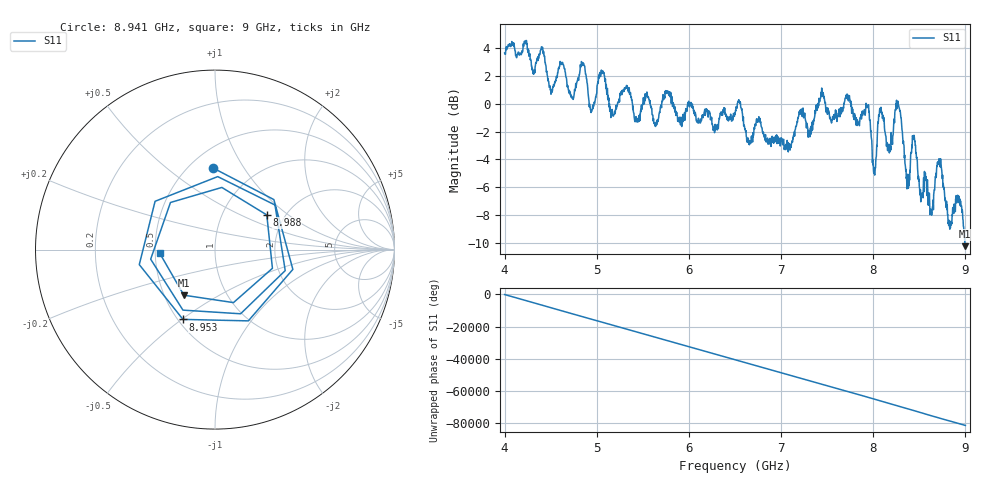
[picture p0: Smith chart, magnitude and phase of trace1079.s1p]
! Created with skrf 1.8.0 (http://scikit-rf.org).
# Hz S RI R 50.0
!freq ReS11 ImS11
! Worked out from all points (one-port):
!   1601 points, 4 GHz to 9 GHz, reference 50 ohm
!   lowest |S11| = -10.2 dB at 8.997 GHz (marker M1), VSWR 1.89, Z = 31.4 - j17.6 ohm
!   |S11| at or under -10 dB: 8.993544 GHz to end of sweep
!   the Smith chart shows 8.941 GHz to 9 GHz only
!   S11 on the Smith chart (normalised r, x): 8.941 GHz: 0.65, +0.74; 8.953 GHz: 0.53, -0.51; 8.988 GHz: 1.62, +0.71; 9 GHz: 0.53, -0.02
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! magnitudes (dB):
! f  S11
! 4 GHz  3.7
! 4.409 GHz  4.0
! 4.509 GHz  0.9
! 4.625 GHz  2.9
! 4.731 GHz  0.5
! 4.853 GHz  2.8
! 4.944 GHz  -0.6
! 5.053 GHz  2.2
! 5.25 GHz  0.6
! 5.875 GHz  -0.9
! 6.5 GHz  -0.8
! 7.125 GHz  -2.7
! 7.75 GHz  0.1
! 7.941 GHz  -0.1
! 8.012 GHz  -5.0
! 8.075 GHz  -0.3
! 8.166 GHz  -3.0
! 8.272 GHz  -0.1
! 8.375 GHz  -5.6
! 8.441 GHz  -2.3
! 8.628 GHz  -7.9
! 8.712 GHz  -4.0
! 8.831 GHz  -9.0
! 8.941 GHz  -6.8
! 8.953 GHz  -7.4
! 8.988 GHz  -9.2
! 8.997 GHz  -10.2
! 9 GHz  -10.2
